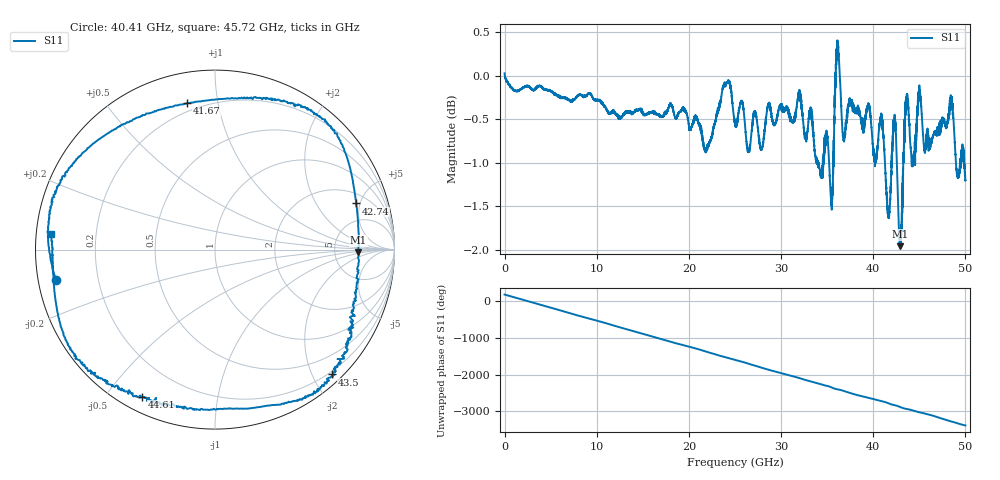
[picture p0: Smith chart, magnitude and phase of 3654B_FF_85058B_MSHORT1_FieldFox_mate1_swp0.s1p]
!Created with skrf (http://scikit-rf.org).
# Hz S RI R 50.0
!freq ReS11 ImS11
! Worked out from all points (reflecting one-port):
!   10000 points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, 5.3 MHz to 50 GHz, reference 50 ohm
!   lowest |S11| = -2.0 dB at 42.92 GHz (marker M1), VSWR 8.91, Z = 443 - j34.7 ohm
!   phase of S11 starts at 180 deg and turns -3561 deg over the sweep
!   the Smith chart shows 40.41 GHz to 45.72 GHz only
!   S11 on the Smith chart (normalised r, x): 40.41 GHz: 0.05, -0.09; 41.67 GHz: 0.16, +0.82; 42.74 GHz: 2.82, +4.60; 43.5 GHz: 0.15, -2.30; 44.61 GHz: 0.06, -0.62; 45.72 GHz: 0.04, +0.05
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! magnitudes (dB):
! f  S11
! 5.3 MHz  0.0
! 6.255 GHz  -0.2
! 12.51 GHz  -0.5
! 18.76 GHz  -0.5
! 21.89 GHz  -0.9
! 24.2 GHz  -0.1
! 25.01 GHz  -0.5
! 31.26 GHz  -0.5
! 34.28 GHz  -1.1
! 34.95 GHz  -0.7
! 35.44 GHz  -1.5
! 36.11 GHz  0.3
! 36.8 GHz  -0.7
! 37.51 GHz  -0.3
! 40.41 GHz  -0.9
! 40.93 GHz  -0.5
! 41.67 GHz  -1.6
! 42.3 GHz  -0.5
! 42.74 GHz  -1.6
! 42.92 GHz  -2.0
! 43.5 GHz  -0.4
! 43.76 GHz  -0.4
! 44.61 GHz  -0.8
! 45.03 GHz  -0.2
! 45.72 GHz  -0.8
! 48.44 GHz  -0.3
! 49.14 GHz  -1.2
! 50 GHz  -1.2
